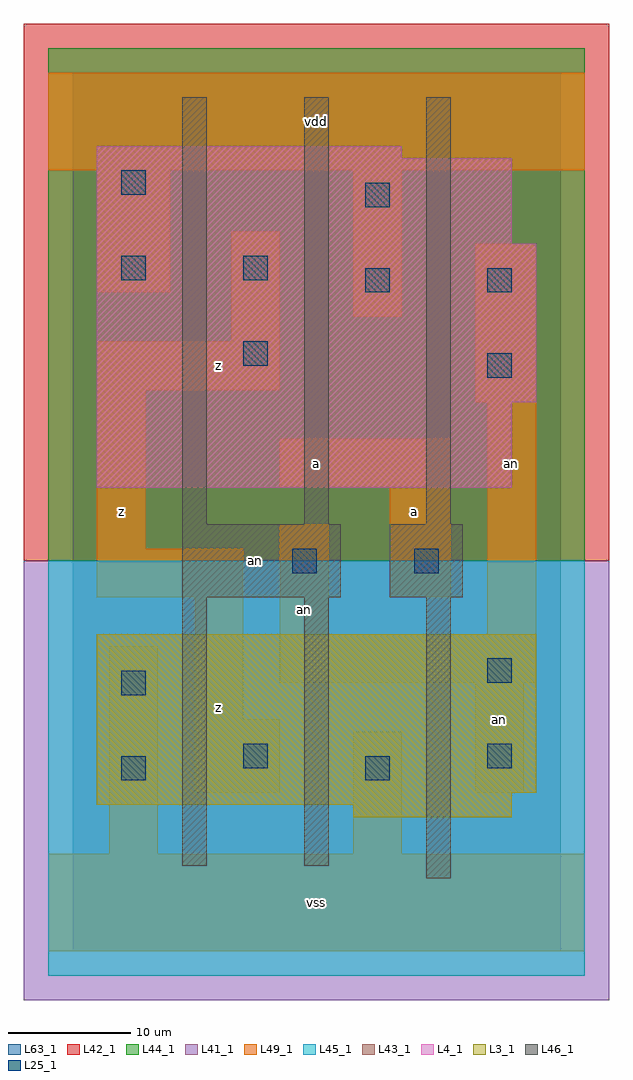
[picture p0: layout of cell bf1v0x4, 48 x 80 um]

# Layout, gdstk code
import gdstk
lib = gdstk.Library(unit=1e-6, precision=1e-09)
def R(c, l, rs):  # rectangles x0, y0, x1, y1
    for r in rs: c.add(gdstk.rectangle(r[:2], r[2:], *l))
def A(c, l, x, y, w, h, nx, ny, dx, dy):  # array of equal rectangles
    R(c, l, [(x+i*dx, y+j*dy, x+i*dx+w, y+j*dy+h) for i in range(nx) for j in range(ny)])
L3_1 = (3, 1)
L4_1 = (4, 1)
L25_1 = (25, 1)
L41_1 = (41, 1)
L42_1 = (42, 1)
L43_1 = (43, 1)
L44_1 = (44, 1)
L45_1 = (45, 1)
L46_1 = (46, 1)
L49_1 = (49, 1)
L63_1 = (63, 1)

bf1v0x4 = lib.new_cell('bf1v0x4')
R(bf1v0x4, L3_1, [(23,11,36,12), (2,12,36,13), (2,13,38,26)])
R(bf1v0x4, L4_1, [(2,38,36,45), (2,45,38,58), (2,58,36,65), (2,65,27,66)])
R(bf1v0x4, L25_1, [(4,14,6,16), (24,14,26,16), (14,15,16,17), (34,15,36,17), (4,21,6,23), (34,22,36,24), (18,31,20,33), (28,31,30,33), (34,47,36,49), (14,48,16,50), (24,54,26,56), (34,54,36,56), (4,55,6,57), (14,55,16,57), (24,61,26,63), (4,62,6,64)])
R(bf1v0x4, L41_1, [(-4,-4,44,32)])
R(bf1v0x4, L42_1, [(-4,32,44,76)])
R(bf1v0x4, L43_1, [(23,11,36,12), (2,12,36,13), (2,13,38,26), (2,38,36,45), (2,45,38,58), (2,58,36,65), (2,65,27,66)])
R(bf1v0x4, L44_1, [(-2,32,42,74)])
R(bf1v0x4, L45_1, [(-2,-2,42,32)])
A(bf1v0x4, L46_1, 9, 35, 2, 35, 3, 1, 10, 0)
R(bf1v0x4, L46_1, [(29,6,31,29), (9,7,11,29), (19,7,21,29), (9,29,22,35), (26,29,32,35)])
R(bf1v0x4, L49_1, [(-2,0,42,8), (3,8,7,25), (23,8,27,18), (10,13,17,19), (33,13,37,22), (10,19,14,29), (17,22,38,26), (17,26,21,35), (34,26,38,45), (2,29,14,33), (26,29,31,38), (2,33,6,46), (17,38,31,42), (33,45,38,58), (2,46,17,50), (13,50,17,59), (23,52,27,64), (2,54,8,64), (-2,64,42,72)])
R(bf1v0x4, L63_1, [(0,0,40,72)])
bf1v0x4.add(gdstk.Label('an', (15,32), layer=46, texttype=1))
bf1v0x4.add(gdstk.Label('z', (4,36), layer=49, texttype=1))
bf1v0x4.add(gdstk.Label('z', (12,20), layer=49, texttype=1))
bf1v0x4.add(gdstk.Label('z', (12,48), layer=49, texttype=1))
bf1v0x4.add(gdstk.Label('vss', (20,4), layer=49, texttype=1))
bf1v0x4.add(gdstk.Label('an', (19,28), layer=49, texttype=1))
bf1v0x4.add(gdstk.Label('a', (28,36), layer=49, texttype=1))
bf1v0x4.add(gdstk.Label('a', (20,40), layer=49, texttype=1))
bf1v0x4.add(gdstk.Label('vdd', (20,68), layer=49, texttype=1))
bf1v0x4.add(gdstk.Label('an', (35,19), layer=49, texttype=1))
bf1v0x4.add(gdstk.Label('an', (36,40), layer=49, texttype=1))

lib.write_gds('bf1v0x4.gds')
